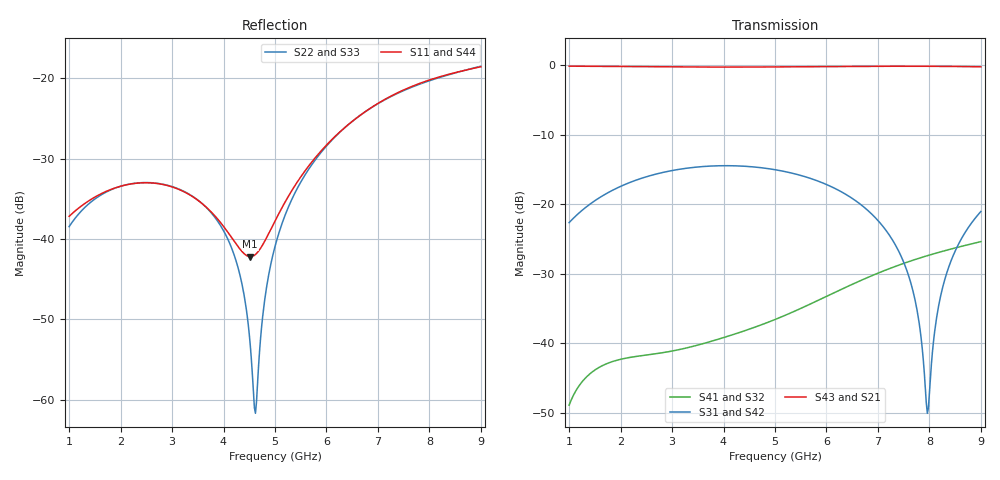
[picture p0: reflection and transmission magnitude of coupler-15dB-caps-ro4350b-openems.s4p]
! openEMS result for the 15 dB coupler with end capacitors on JLC RO4350B 0.508 mm (#41; W 1.0046, S 0.3124 mm, 0.0484 pF ideal lumped C across the gap at each end)
# Hz S RI R 50
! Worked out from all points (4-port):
!   401 points, 1 GHz to 9 GHz, reference 50 ohm
!   strongest paths, dB at 1 GHz, 3 GHz, 5 GHz, 7 GHz, 9 GHz:
!     S43: -0.1, -0.2, -0.2, -0.1, -0.2
!     S21: -0.1, -0.2, -0.2, -0.1, -0.2
!     S31: -22.6, -15.1, -15.0, -22.3, -21.0
!     S42: -22.6, -15.1, -15.0, -22.3, -21.1
!     S41: -48.9, -41.1, -36.6, -29.9, -25.3
!     S32: -49.2, -41.2, -36.6, -29.9, -25.4
!   lowest |S11| = -42.2 dB at 4.52 GHz (marker M1), VSWR 1.02, Z = 49.8 + j0.734 ohm
!   |S11| at or under -10 dB: start of sweep to end of sweep
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1e9  -0.0138 -0.00166  0.5983 -0.786  0.0594 0.0444  0.0028 0.00225
     0.5986 -0.786  -0.0118 -0.00211  0.00265 0.00224  0.0595 0.0439
     0.0595 0.0439  0.00265 0.00224  -0.0118 -0.00211  0.5986 -0.786
     0.0028 0.00225  0.0594 0.0444  0.5983 -0.786  -0.0138 -0.00166
3.02e9  -0.00433 0.0206  -0.9071 -0.3588  0.0671 -0.1626  0.00114 -0.00877
        -0.907 -0.3589  -0.00345 0.0208  0.00105 -0.00871  0.0627 -0.1643
        0.0627 -0.1643  0.00105 -0.00871  -0.00345 0.0208  -0.907 -0.3589
        0.00114 -0.00877  0.0671 -0.1626  -0.9071 -0.3588  -0.00433 0.0206
4.52e9  -0.00242 0.00738  -0.5341 0.8142  -0.1533 -0.1071  -0.0103 -0.00747
        -0.5342 0.8142  0.00138 0.00168  -0.0102 -0.00741  -0.1575 -0.1008
        -0.1575 -0.1008  -0.0102 -0.00741  0.00138 0.00168  -0.5342 0.8142
        -0.0103 -0.00747  -0.1533 -0.1071  -0.5341 0.8142  -0.00242 0.00738
6.82e9  -0.00514 0.064  0.9846 0.0293  -0.00825 0.0891  -0.00591 0.0294
        0.9846 0.0294  -0.00684 0.0637  -0.00603 0.0293  -0.00219 0.0894
        -0.00219 0.0894  -0.00603 0.0293  -0.00684 0.0637  0.9846 0.0294
        -0.00591 0.0294  -0.00825 0.0891  0.9846 0.0293  -0.00514 0.064
7.62e9  0.049 0.0732  0.7421 -0.6502  0.0157 0.0245  0.0242 0.0306
        0.7421 -0.65  0.0514 0.0704  0.0241 0.0307  0.0176 0.0227
        0.0176 0.0227  0.0241 0.0307  0.0514 0.0704  0.7421 -0.65
        0.0242 0.0306  0.0157 0.0245  0.7421 -0.6502  0.049 0.0732
7.96e9  0.0761 0.0598  0.4997 -0.8499  -0.00134 0.00346  0.0371 0.0213
        0.4997 -0.8497  0.0781 0.0554  0.0371 0.0214  -0.00117 0.00291
        -0.00117 0.00291  0.0371 0.0214  0.0781 0.0554  0.4997 -0.8497
        0.0371 0.0213  -0.00134 0.00346  0.4997 -0.8499  0.0761 0.0598
9e9  0.1088 -0.0462  -0.4246 -0.8804  -0.0788 0.04  0.0425 -0.0333
     -0.4242 -0.8805  0.1091 -0.0478  0.0425 -0.0333  -0.0758 0.0466
     -0.0758 0.0466  0.0425 -0.0333  0.1091 -0.0478  -0.4242 -0.8805
     0.0425 -0.0333  -0.0788 0.04  -0.4246 -0.8804  0.1088 -0.0462
